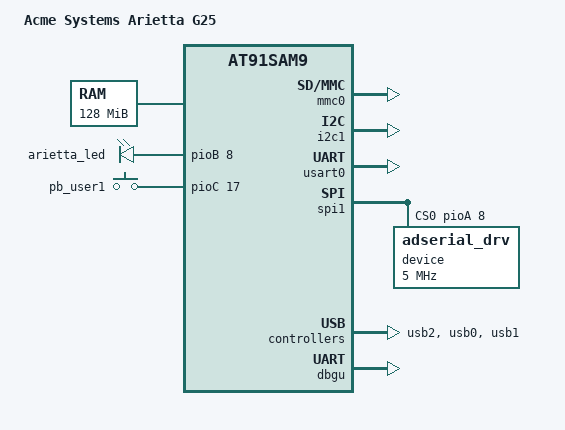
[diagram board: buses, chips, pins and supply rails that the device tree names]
/*
 * acme-arietta.dts - Device Tree file for Arietta G25
 * Generated by http://dts.acmesystems.it/arietta
 */
/dts-v1/;
#include "at91sam9g25.dtsi"
/ {
	model = "Acme Systems Arietta G25";
	compatible = "acme,ariettag25", "atmel,at91sam9x5", "atmel,at91sam9";
	aliases {
		serial0 = &dbgu;
		serial1 = &usart0;
		serial2 = &usart1;
		serial3 = &usart2;
		serial4 = &usart3;
		serial5 = &uart0;
		serial6 = &uart1;
	};
	chosen {
		stdout-path = "serial0:115200n8";
		//bootargs = "console=ttyS0,115200 root=/dev/mmcblk0p2 rootfstype=ext4 rw rootwait";
		bootargs = "console=ttyS0,115200 root=/dev/mmcblk0p2 rootfstype=ext4 rw rootwait";
		//bootargs = "console=ttyS0,115200 root=/dev/mmcblk0p2 rootfstype=ext4 rw rootwait dyndbg=\"file sched_clock.c +p\"";
		//dyndebug.verbose=1 dyndbg="file sched_clock.c +p; file timer-atmel-tcb.c +p; file clocksource.c +p;";
		//dyndebug.verbose=1 dyndbg="module g_ether +p; module libcomposite +p";
		//bootargs = "console=ttyS0,115200 root=/dev/mmcblk0p2 rootfstype=ext4 rw rootwait no_console_suspend";
		//bootargs = "console=ttyS0,115200 root=/dev/mmcblk0p2 rootfstype=ext4 rw rootwait no_console_suspend ignore_loglevel initcall_debug";
	};
	memory {
		reg = <0x20000000 0x8000000>;
	};
	clocks {
		slow_xtal {
			clock-frequency = <32768>;
		};
		main_xtal {
			clock-frequency = <12000000>;
		};
	};
	ahb {
		apb {
			mmc0: mmc@f0008000 {
				pinctrl-0 = <
				  &pinctrl_mmc0_slot0_clk_cmd_dat0
				  &pinctrl_mmc0_slot0_dat1_3>;
				status = "okay";
				slot@0 {
					reg = <0>;
					bus-width = <4>;
				};
			};
			i2c1: i2c@f8014000 {
				status ="okay";
			};
			usart0: serial@f801c000 {
				pinctrl-0 = <&pinctrl_usart0>;
				/* habilita DMA */
				atmel,use-dma-rx;
				atmel,use-dma-tx;
				dma-names = "tx", "rx";
				status ="okay";
			};
			spi1: spi@f0004000 {
				status = "okay";
				cs-gpios = <&pioA 8 0>;
				device@0 {
					compatible = "adserial_drv";
					spi-max-frequency = <5000000>;	    // 5 MHz
					reg = <0>;
				};
			};
			tcb0: timer@f8008000 {
				timer@0 {
					compatible = "atmel,tcb-timer";
					reg = <0>;
				};

				timer@1 {
					compatible = "atmel,tcb-timer";
					reg = <1>;
				};
			};
			ssc0: ssc@f0010000 {
				status = "okay";
			};
			usb2: gadget@f803c000 {
				status = "okay";
			};
			dbgu: serial@fffff200 {
				status = "okay";
			};
			pinctrl@fffff400 {
			};
			rtc@fffffeb0 {
				status = "okay";
			};
		};
		usb0: ohci@600000 {
			status = "okay";
			num-ports = <3>;
		};
		usb1: ehci@700000 {
			status = "okay";
		};
	};
	leds {
		compatible = "gpio-leds";
		arietta_led {
			label = "arietta_led";
			gpios = <&pioB 8 GPIO_ACTIVE_HIGH>; /* PB8 */
			linux,default-trigger = "heartbeat";
		};
	};
	gpio_keys {
		compatible = "gpio-keys";
		#address-cells = <1>;
		#size-cells = <0>;
		pb_user1 {
			label = "pb_user1";
			gpios = <&pioC 17 GPIO_ACTIVE_HIGH>;
			linux,code = <0x103>;
			gpio-key,wakeup;
		};
	};
};
